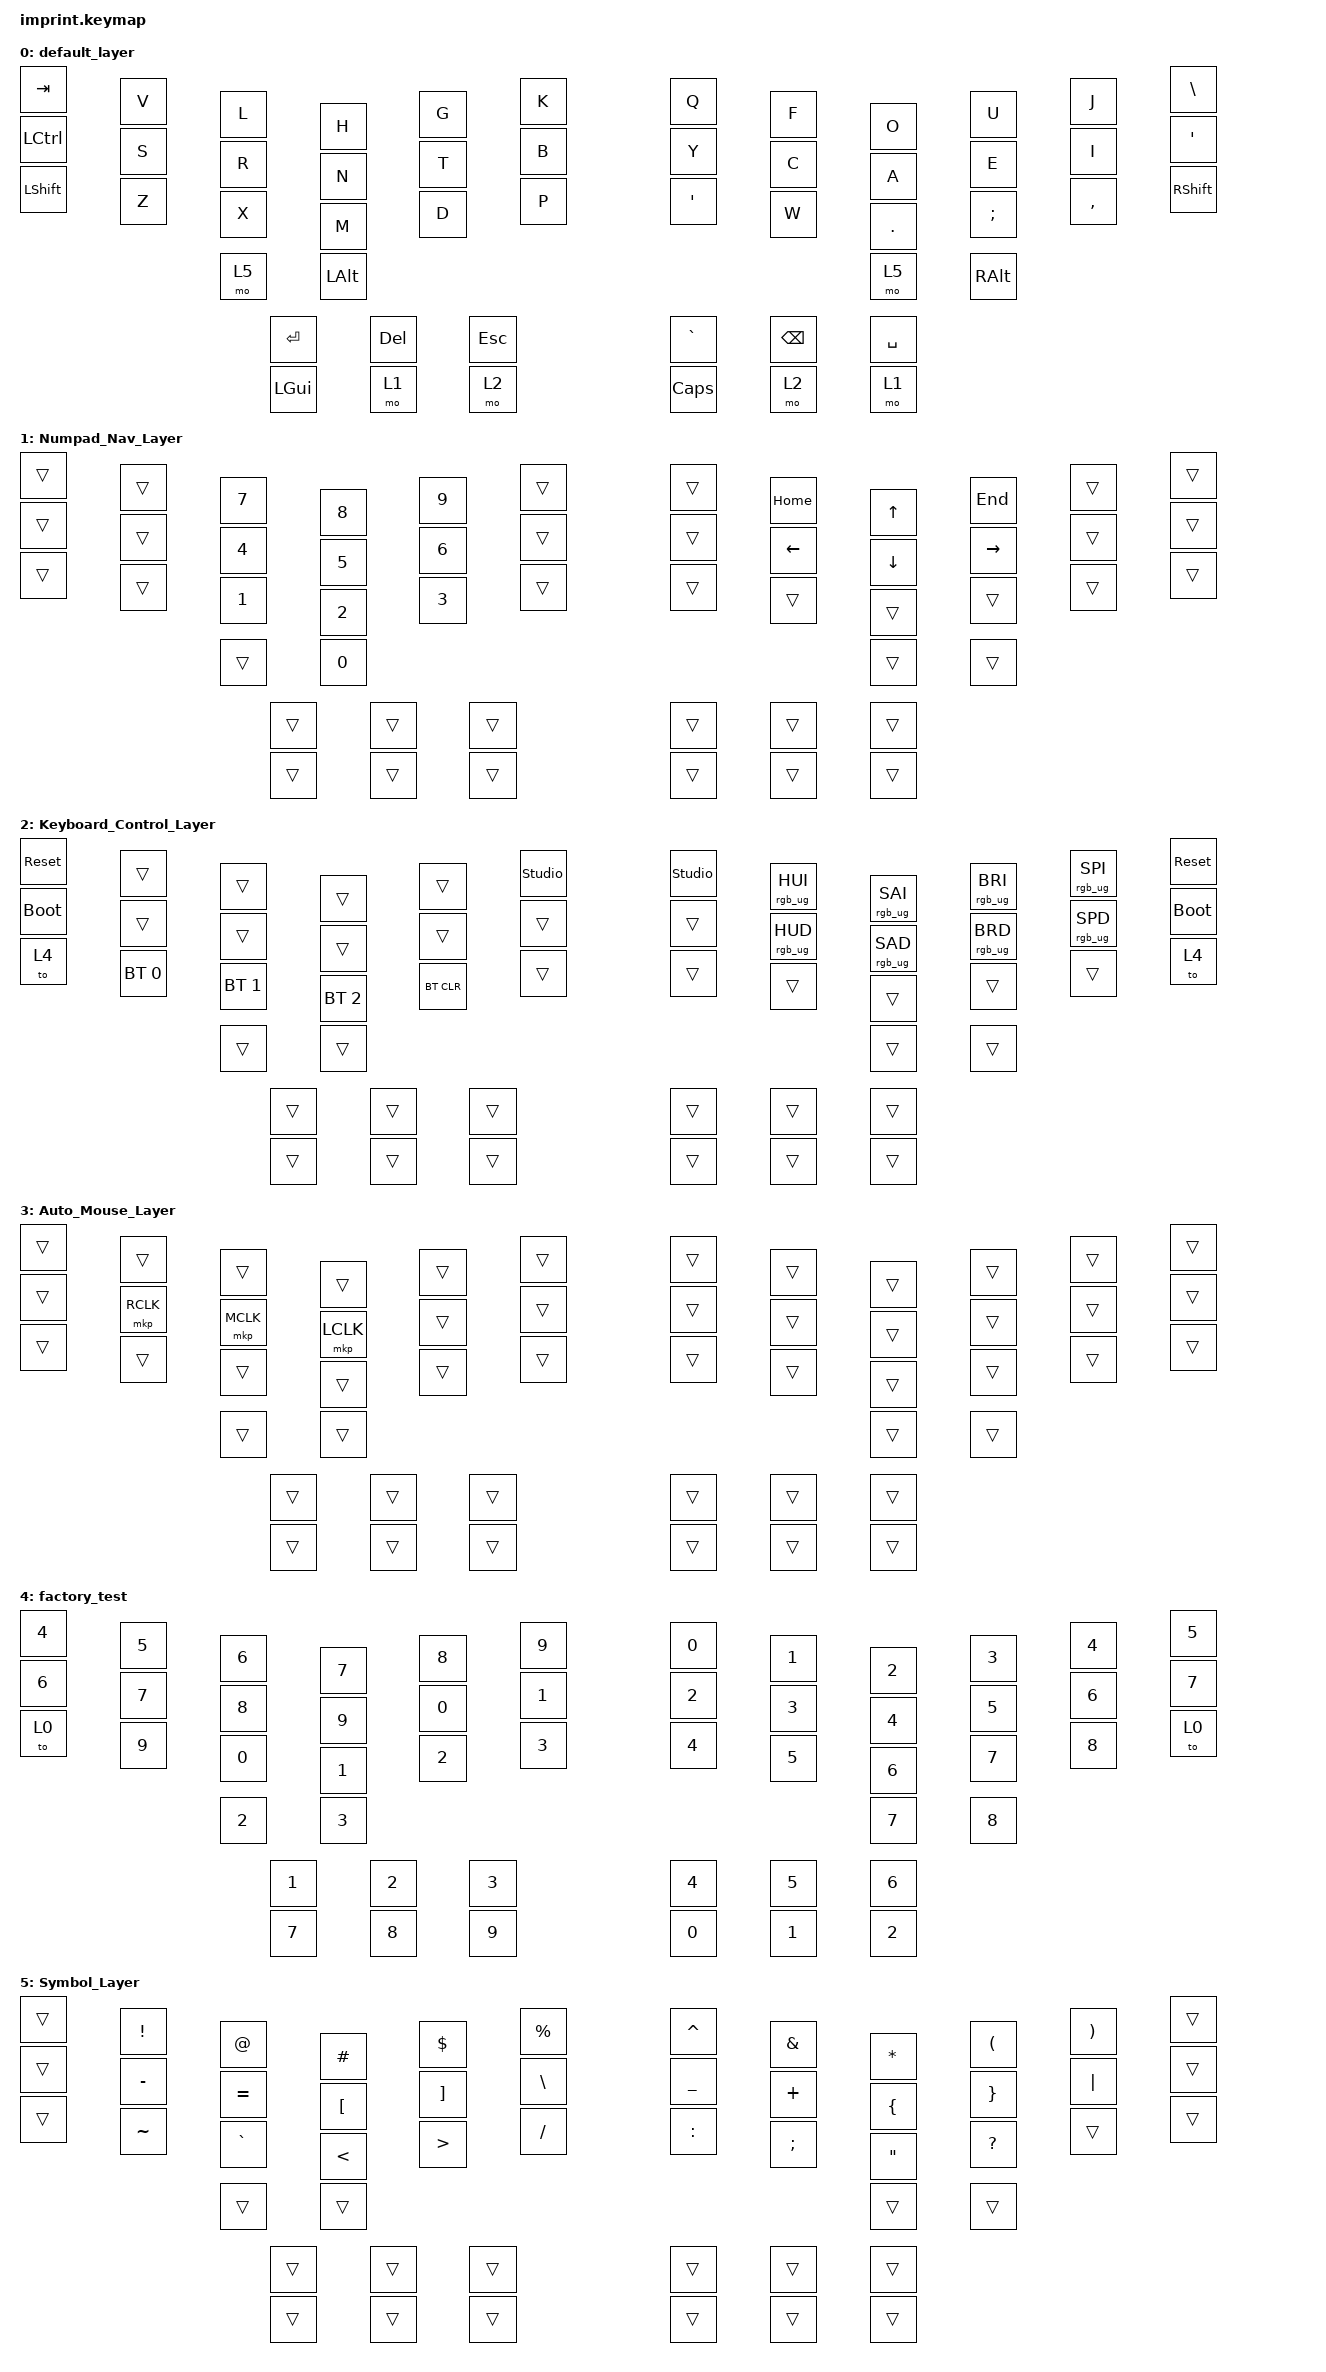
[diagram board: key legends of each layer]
#include <input/processors.dtsi>
#include <dt-bindings/zmk/input_transform.h>
#include <behaviors.dtsi>
#include <dt-bindings/zmk/bt.h>
#include <dt-bindings/zmk/keys.h>
#include <dt-bindings/zmk/pointing.h>
#include <dt-bindings/zmk/rgb.h>

/ {
    keymap {
        compatible = "zmk,keymap";

        default_layer {
            bindings = <
 &kp TAB    &kp V     &kp L     &kp H     &kp G   &kp K                                          &kp Q       &kp F      &kp O     &kp U    &kp J    &kp BSLH
 &kp LCTRL  &kp S     &kp R     &kp N     &kp T   &kp B                                          &kp Y       &kp C      &kp A     &kp E    &kp I    &kp SQT
 &kp LSHFT  &kp Z     &kp X     &kp M     &kp D   &kp P                                          &kp APOS    &kp W      &kp DOT   &kp SEMI &kp COMMA &kp RSHFT
                      &mo 5     &kp LALT                                                                                &mo 5     &kp RALT
                                                  &kp RET  &kp DEL &kp ESC    &kp GRAVE &kp BSPC &kp SPACE
                                                  &kp LGUI &mo 1   &mo 2      &kp CAPS  &mo 2    &mo 1
            >;
        };

        Numpad_Nav_Layer {
            bindings = <
 &trans  &trans  &kp N7  &kp N8  &kp N9  &trans                                     &trans  &kp HOME &kp UP   &kp END   &trans  &trans
 &trans  &trans  &kp N4  &kp N5  &kp N6  &trans                                     &trans  &kp LEFT &kp DOWN &kp RIGHT &trans  &trans
 &trans  &trans  &kp N1  &kp N2  &kp N3  &trans                                     &trans  &trans   &trans   &trans    &trans  &trans
                 &trans  &kp N0                                                                      &trans   &trans
                                      &trans  &trans &trans       &trans  &trans &trans
                                      &trans  &trans &trans       &trans  &trans &trans
            >;
        };

        Keyboard_Control_Layer {
            bindings = <
 &sys_reset   &trans        &trans        &trans        &trans        &studio_unlock                             &studio_unlock  &rgb_ug RGB_HUI  &rgb_ug RGB_SAI &rgb_ug RGB_BRI &rgb_ug RGB_SPI &sys_reset
 &bootloader  &trans        &trans        &trans        &trans        &trans                                     &trans          &rgb_ug RGB_HUD  &rgb_ug RGB_SAD &rgb_ug RGB_BRD &rgb_ug RGB_SPD &bootloader
 &to 4        &bt BT_SEL 0  &bt BT_SEL 1  &bt BT_SEL 2  &bt BT_CLR    &trans                                     &trans          &trans           &trans          &trans          &trans          &to 4
              &trans        &trans                                                                                               &trans           &trans
                                          &trans  &trans &trans        &trans &trans &trans
                                          &trans  &trans &trans        &trans &trans &trans
            >;
        };

        Auto_Mouse_Layer {
            bindings = <
 &trans  &trans     &trans     &trans     &trans  &trans                                     &trans  &trans  &trans  &trans  &trans  &trans
 &trans  &mkp RCLK  &mkp MCLK  &mkp LCLK  &trans  &trans                                     &trans  &trans  &trans  &trans  &trans  &trans
 &trans  &trans     &trans     &trans     &trans  &trans                                     &trans  &trans  &trans  &trans  &trans  &trans
         &trans     &trans                                                                           &trans  &trans
                               &trans  &trans &trans        &trans &trans &trans
                               &trans  &trans &trans        &trans &trans &trans
            >;
        };

        factory_test {
            bindings = <
&kp N4  &kp N5  &kp N6  &kp N7  &kp N8  &kp N9            &kp N0  &kp N1  &kp N2  &kp N3  &kp N4  &kp N5
&kp N6  &kp N7  &kp N8  &kp N9  &kp N0  &kp N1            &kp N2  &kp N3  &kp N4  &kp N5  &kp N6  &kp N7
&to 0   &kp N9  &kp N0  &kp N1  &kp N2  &kp N3            &kp N4  &kp N5  &kp N6  &kp N7  &kp N8  &to 0
                &kp N2  &kp N3                                              &kp N7  &kp N8
                        &kp N1  &kp N2  &kp N3    &kp N4  &kp N5  &kp N6
                        &kp N7  &kp N8  &kp N9    &kp N0  &kp N1  &kp N2
            >;
        };

        Symbol_Layer {
            bindings = <
 &trans  &kp EXCL   &kp AT    &kp HASH  &kp DLLR  &kp PRCNT                            &kp CARET  &kp AMPS  &kp ASTRK  &kp LPAR  &kp RPAR  &trans
 &trans  &kp MINUS  &kp EQUAL &kp LBKT  &kp RBKT  &kp BSLH                             &kp UNDER  &kp PLUS  &kp LBRC   &kp RBRC  &kp PIPE  &trans
 &trans  &kp TILDE  &kp GRAVE &kp LT    &kp GT    &kp FSLH                             &kp COLON  &kp SEMI  &kp DQT    &kp QMARK &trans    &trans
                    &trans    &trans                                                                          &trans     &trans
                                        &trans  &trans &trans       &trans  &trans &trans
                                        &trans  &trans &trans       &trans  &trans &trans
            >;
        };
    };
};

&trackball_central_listener {
    input-processors =
        <&zip_xy_scaler 1 3>,
        <&zip_xy_to_scroll_mapper>,
        <&zip_scroll_transform INPUT_TRANSFORM_Y_INVERT>;
};
